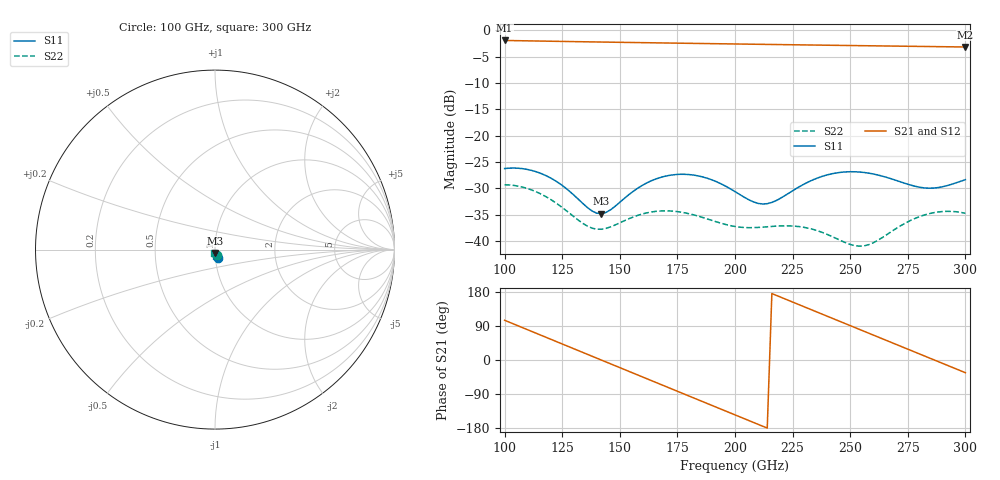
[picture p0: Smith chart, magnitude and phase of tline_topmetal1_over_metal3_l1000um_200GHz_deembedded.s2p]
! Created with skrf 2.0.1 (http://scikit-rf.org).
# GHz S DB R 50.0
!freq dBS11 angS11 dBS21 angS21 dBS12 angS12 dBS22 angS22
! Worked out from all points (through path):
!   101 points, 100 GHz to 300 GHz, reference 50 ohm
!   highest |S21| = -1.93 dB at 100 GHz (marker M1); lowest = -3.2 dB at 300 GHz (marker M2)
!   group delay of S21, straight-line fit = 6.92 ps
!   lowest |S11| = -34.8 dB at 142 GHz (marker M3), VSWR 1.04, Z = 50.1 - j1.82 ohm
!   |S11| at or under -10 dB: start of sweep to end of sweep
!   |S22| runs from -41.0 to -29.3 dB; largest |S21 - S12| = 4.6e-16
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100  -26.25 -73.0  -1.93 104.9  -1.93 104.9  -29.33 -72.0
108  -26.28 -87.5  -1.99 84.8  -1.99 84.8  -29.79 -85.7
116  -27.22 -100.8  -2.05 64.8  -2.05 64.8  -31.12 -97.8
126  -29.78 -112.2  -2.12 39.8  -2.12 39.8  -33.97 -106.3
134  -32.89 -109.8  -2.18 19.8  -2.18 19.8  -36.67 -101.6
142  -34.81 -87.1  -2.23 -0.1  -2.23 -0.1  -37.76 -85.4
154  -31.18 -65.0  -2.31 -30.1  -2.31 -30.1  -35.76 -74.0
168  -27.89 -76.5  -2.40 -65.0  -2.40 -65.0  -34.29 -84.2
176  -27.34 -87.3  -2.45 -85.0  -2.45 -85.0  -34.48 -92.2
184  -27.64 -97.9  -2.50 -104.9  -2.50 -104.9  -35.27 -98.4
200  -30.62 -108.7  -2.60 -144.8  -2.60 -144.8  -37.24 -98.7
210  -32.86 -96.0  -2.66 -169.7  -2.66 -169.7  -37.42 -95.0
216  -32.67 -82.3  -2.70 175.3  -2.70 175.3  -37.23 -95.0
224  -30.74 -72.1  -2.74 155.4  -2.74 155.4  -37.13 -98.2
234  -28.36 -74.0  -2.80 130.5  -2.80 130.5  -37.81 -103.9
242  -27.24 -81.0  -2.85 110.6  -2.85 110.6  -39.12 -105.5
250  -26.85 -89.2  -2.90 90.7  -2.90 90.7  -40.65 -98.5
258  -27.12 -96.8  -2.94 70.9  -2.94 70.9  -40.70 -83.0
268  -28.22 -102.2  -3.00 46.0  -3.00 46.0  -38.17 -73.2
284  -29.97 -93.2  -3.09 6.2  -3.09 6.2  -34.84 -87.2
292  -29.49 -85.0  -3.13 -13.7  -3.13 -13.7  -34.36 -99.6
300  -28.36 -81.7  -3.17 -33.5  -3.17 -33.5  -34.75 -112.5
